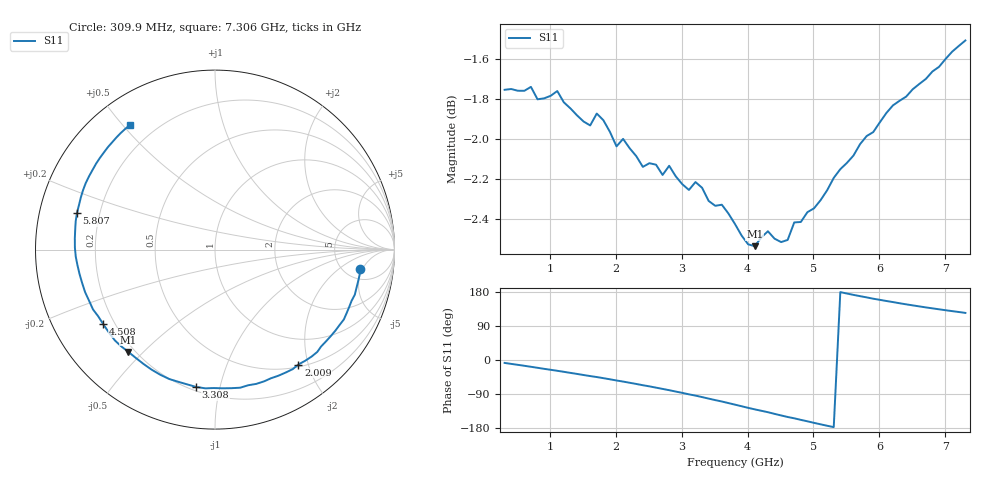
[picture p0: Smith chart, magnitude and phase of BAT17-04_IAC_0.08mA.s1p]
! Infineon Technologies  Discrete & RF Semiconductors
! BAT17-04
! IAC = 0.08 mA
! One-Port S-Parameters
# Hz  S  MA  R  50
!f  S11
!Hz  Mag  Ang
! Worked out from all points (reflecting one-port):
!   71 points, 309.9 MHz to 7.306 GHz, reference 50 ohm
!   lowest |S11| = -2.5 dB at 4.108 GHz (marker M1), VSWR 6.90, Z = 8.77 - j22.6 ohm
!   phase of S11 starts at -8 deg and turns -228 deg over the sweep
!   S11 on the Smith chart (normalised r, x): 309.9 MHz: 6.88, -4.55; 2.009 GHz: 0.54, -1.84; 3.308 GHz: 0.22, -0.85; 4.508 GHz: 0.16, -0.30; 5.807 GHz: 0.12, +0.13; 7.306 GHz: 0.11, +0.52
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3.0985e8  0.8172 -7.7
7.0965e8  0.8185 -17.9
1.10945e9  0.8166 -28.5
1.2094e9  0.8113 -31.2
1.70915e9  0.8061 -45.0
2.009e9  0.791 -54.0
2.10895e9  0.7944 -56.9
2.6087e9  0.7827 -72.9
2.8086e9  0.7822 -79.7
3.0085e9  0.7739 -86.8
3.2084e9  0.7749 -94.0
3.30835e9  0.7723 -97.8
3.6082e9  0.7648 -109.5
3.8081e9  0.7564 -117.9
4.10795e9  0.7468 -130.3
4.30785e9  0.7532 -137.8
4.50775e9  0.7486 -146.3
4.70765e9  0.7571 -153.9
4.90755e9  0.7615 -161.8
5.2074e9  0.7712 -173.5
5.4073e9  0.7807 179.2
5.6072e9  0.7868 171.8
5.8071e9  0.7957 165.2
5.90705e9  0.7975 161.7
6.2069e9  0.8099 152.8
6.50675e9  0.8174 144.2
6.90655e9  0.8281 133.8
7.30635e9  0.8407 124.2
